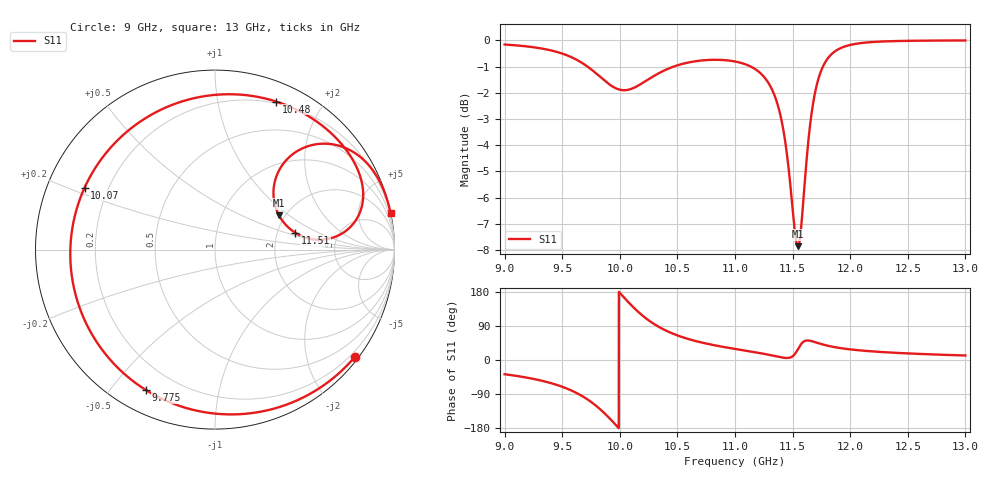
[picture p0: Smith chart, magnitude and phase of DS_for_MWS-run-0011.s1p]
! TOUCHSTONE file generated by CST DESIGN STUDIO
! Date and time: Tue Feb  4 16:44:54 2025
! Project name: C:\Work\MatlabApps\UnitCellOptimizationMatlab\CST\unitcell.cst
! Tree item: Tasks\Sweep1\SPara1\S-Parameters
! Header version: 2024
! Port assignment regex: !\s*Touchstone port\s*([0-9]+)\s*=\s*(CST MWS port|CST DES external port|CST DES block port)\s*(.+)\s* \(\"(.*)\"\)(\s*mode\s*([0-9]+))?.*
! Touchstone port assignment:
! Touchstone port 1 = CST DES external port 1 ("")
# GHz S MA R 50
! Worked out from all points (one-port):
!   4001 points, 9 GHz to 13 GHz, reference 50 ohm
!   lowest |S11| = -7.9 dB at 11.55 GHz (marker M1), VSWR 2.36, Z = 92.7 + j42.5 ohm
!   |S11| at or under -10 dB: nowhere
!   S11 on the Smith chart (normalised r, x): 9 GHz: 0.09, -2.94; 9.775 GHz: 0.09, -0.62; 10.07 GHz: 0.11, +0.22; 10.48 GHz: 0.18, +1.48; 11.51 GHz: 2.52, +0.60; 13 GHz: 0.02, +9.59
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9  0.9819 -37.6
9.282  0.968 -51.9
9.5  0.9436 -70.6
9.658  0.9097 -92.5
9.775  0.872 -116.2
9.838  0.8487 -132.3
9.903  0.8261 -151.3
10  0.8051 177.0
10.068  0.8044 154.6
10.156  0.8188 128.1
10.244  0.8415 106.0
10.345  0.8671 86.3
10.477  0.8926 67.6
10.5  0.896 64.9
10.719  0.9158 45.5
11  0.9113 29.2
11.186  0.878 19.9
11.32  0.8068 12.2
11.412  0.689 6.5
11.5  0.4769 9.8
11.508  0.457 11.8
11.546  0.4047 28.3
11.604  0.5306 50.0
11.694  0.7931 47.2
11.821  0.9328 36.6
12  0.9801 28.0
12.5  0.9979 17.4
13  0.9996 11.9
